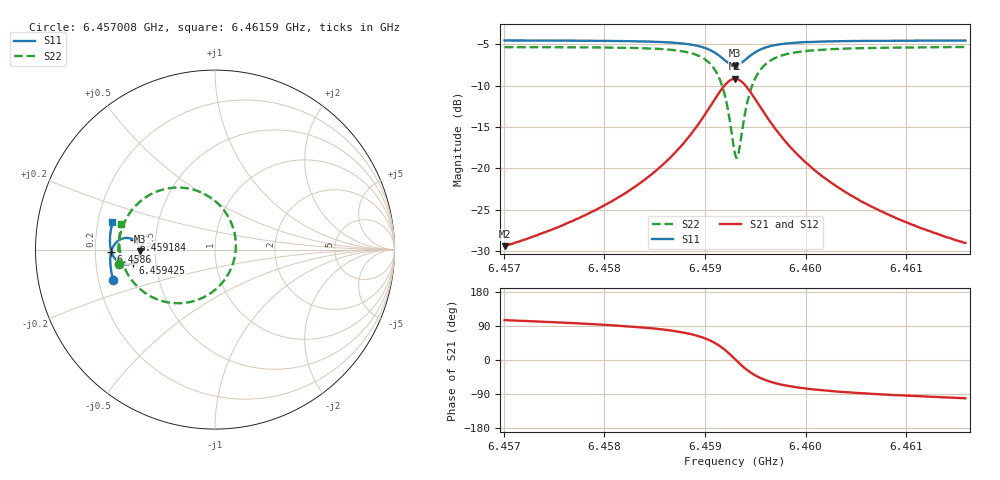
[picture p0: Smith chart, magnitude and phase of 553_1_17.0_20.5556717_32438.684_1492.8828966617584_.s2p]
#  HZ  S  RI  R  50.00
! Rohde & Schwarz Vector Network Analyzer
! Rohde-Schwarz,ZNB20-2Port,1311601062101988,3.16
! Created: UTC 3/20/2024, 11:16:53 PM
! freq[Hz]  re:S11  im:S11  re:S21  im:S21  re:S12  im:S12  re:S22  im:S22
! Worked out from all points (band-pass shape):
!   401 points, 6.457008 GHz to 6.46159 GHz, reference 50 ohm
!   highest |S21| = -9.18 dB at 6.459299 GHz (marker M1); lowest = -29.4 dB at 6.457008 GHz (marker M2)
!   |S21| within 3 dB of the highest: 6.45907 GHz to 6.459528 GHz (457.9 kHz wide, 0.00709 % of centre)
!   lowest |S11| = -7.6 dB at 6.459299 GHz (marker M3), VSWR 2.43, Z = 20.6 - j0.439 ohm
!   |S11| at or under -10 dB: nowhere
!   |S22| runs from -18.7 to -5.3 dB; largest |S21 - S12| = 0.014
!   S11 on the Smith chart (normalised r, x): 6.457008 GHz: 0.26, -0.14; 6.4586 GHz: 0.27, -0.01; 6.459184 GHz: 0.37, +0.05; 6.459425 GHz: 0.37, -0.07; 6.46159 GHz: 0.26, +0.12
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6.4570079e9  -0.5674 -0.1698  -0.00891 0.0326  -0.00705 0.0326  -0.5333 -0.0821
6.4577754e9  -0.5812 -0.1026  -0.00545 0.0506  -0.00287 0.05  -0.5382 0.00812
6.4581877e9  -0.5838 -0.0613  0.000435 0.0695  0.00363 0.0682  -0.5302 0.0734
6.4585428e9  -0.5798 -0.0189  0.0146 0.0992  0.0186 0.0964  -0.5039 0.1534
6.4586001e9  -0.578 -0.011  0.0189 0.1061  0.023 0.1029  -0.4957 0.1701
6.4588062e9  -0.5648 0.021  0.0467 0.1385  0.0509 0.1336  -0.4436 0.2428
6.4589552e9  -0.5421 0.0474  0.0922 0.169  0.0955 0.1622  -0.3595 0.3073
6.4590926e9  -0.4981 0.0648  0.1799 0.1854  0.1807 0.1781  -0.1992 0.3456
6.4591842e9  -0.4534 0.0545  0.27 0.154  0.2703 0.148  -0.032 0.2947
6.459253e9  -0.4242 0.0223  0.3307 0.0817  0.3329 0.0764  0.084 0.1644
6.4592988e9  -0.4174 -0.00883  0.3471 0.0136  0.3508 0.00642  0.1162 0.0363
6.4593102e9  -0.4178 -0.017  0.3469 -0.00447  0.3509 -0.0121  0.1157 0.00248
6.4593332e9  -0.4213 -0.0327  0.3412 -0.0393  0.3452 -0.0484  0.1045 -0.0637
6.459379e9  -0.4369 -0.0589  0.3124 -0.0996  0.3146 -0.1115  0.0464 -0.1776
6.4594248e9  -0.4591 -0.0753  0.27 -0.1408  0.2693 -0.1542  -0.0398 -0.253
6.4595164e9  -0.5027 -0.0821  0.1847 -0.1719  0.1784 -0.1836  -0.2101 -0.2989
6.4596653e9  -0.5468 -0.0616  0.0964 -0.1578  0.0878 -0.1639  -0.3787 -0.2487
6.4598257e9  -0.5684 -0.0338  0.0512 -0.1295  0.0436 -0.1323  -0.4595 -0.1757
6.4600662e9  -0.5811 0.00175  0.0221 -0.0979  0.0163 -0.0983  -0.5074 -0.0928
6.4604213e9  -0.5855 0.044  0.00581 -0.0702  0.00173 -0.0696  -0.5291 -0.0111
6.4608337e9  -0.5835 0.0853  -0.00155 -0.0522  -0.00444 -0.0512  -0.5327 0.055
6.4615897e9  -0.5711 0.1524  -0.00671 -0.0348  -0.00833 -0.0338  -0.5212 0.1446
